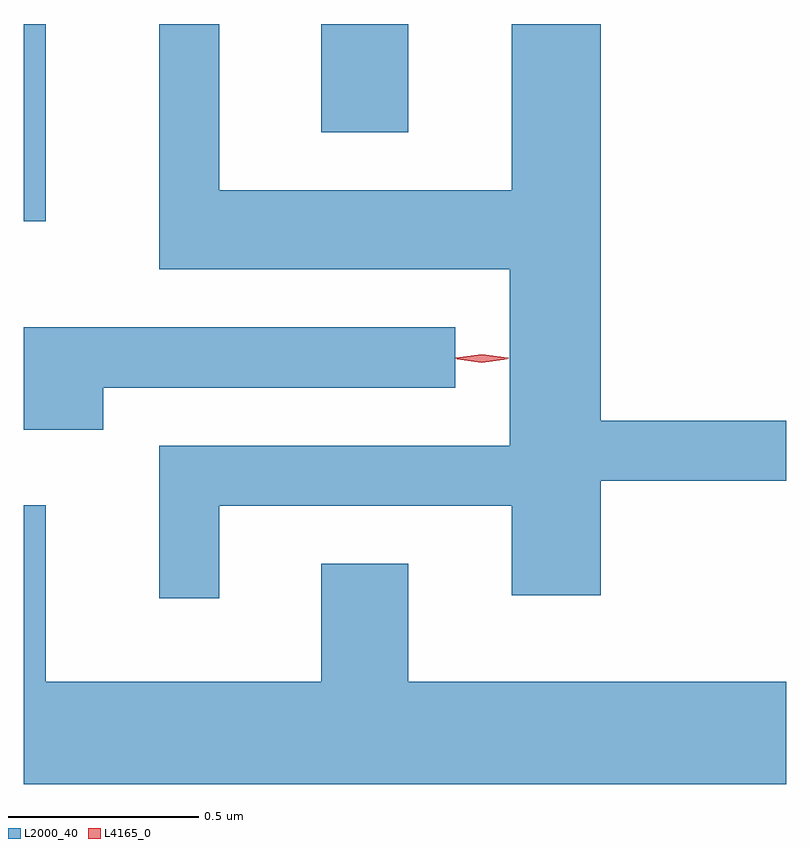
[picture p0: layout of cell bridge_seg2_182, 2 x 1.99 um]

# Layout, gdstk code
import gdstk
lib = gdstk.Library(unit=1e-6, precision=1e-09)
def R(c, l, rs):  # rectangles x0, y0, x1, y1
    for r in rs: c.add(gdstk.rectangle(r[:2], r[2:], *l))
def P(c, l, *ps):  # polygons
    for p in ps: c.add(gdstk.Polygon(p, *l))
L2000_40 = (2000, 40)
L4165_0 = (4165, 0)

bridge_seg2_182 = lib.new_cell('bridge_seg2_182')
R(bridge_seg2_182, L2000_40, [(675.741,1003.173,675.799,1003.69), (676.521,1003.406,676.749,1003.69)])
P(bridge_seg2_182, L2000_40, [(676.254,1002.426),(677.021,1002.426),(677.021,1002.191),(677.254,1002.191),(677.254,1002.491),(677.741,1002.491),(677.741,1002.649),(677.254,1002.649),(677.254,1003.69),(677.021,1003.69),(677.021,1003.254),(676.254,1003.254),(676.254,1003.69),(676.096,1003.69),(676.096,1003.046),(677.016,1003.046),(677.016,1002.584),(676.096,1002.584),(676.096,1002.183),(676.254,1002.183)],
  [(675.949,1002.736),(676.873,1002.736),(676.873,1002.894),(675.741,1002.894),(675.741,1002.626),(675.949,1002.626)],
  [(677.741,1001.964),(676.749,1001.964),(676.749,1002.274),(676.521,1002.274),(676.521,1001.964),(675.799,1001.964),(675.799,1002.428),(675.741,1002.428),(675.741,1001.696),(677.741,1001.696)])
P(bridge_seg2_182, L4165_0, [(676.943,1002.801),(676.878,1002.811),(676.877,1002.811),(676.878,1002.812),(676.943,1002.821),(677.009,1002.811),(677.009,1002.811),(677.009,1002.81)],
  [(676.943,1002.803),(676.874,1002.813),(676.874,1002.813),(676.874,1002.814),(676.943,1002.823),(677.012,1002.814),(677.013,1002.813),(677.012,1002.813)])

lib.write_gds('bridge_seg2_182.gds')
